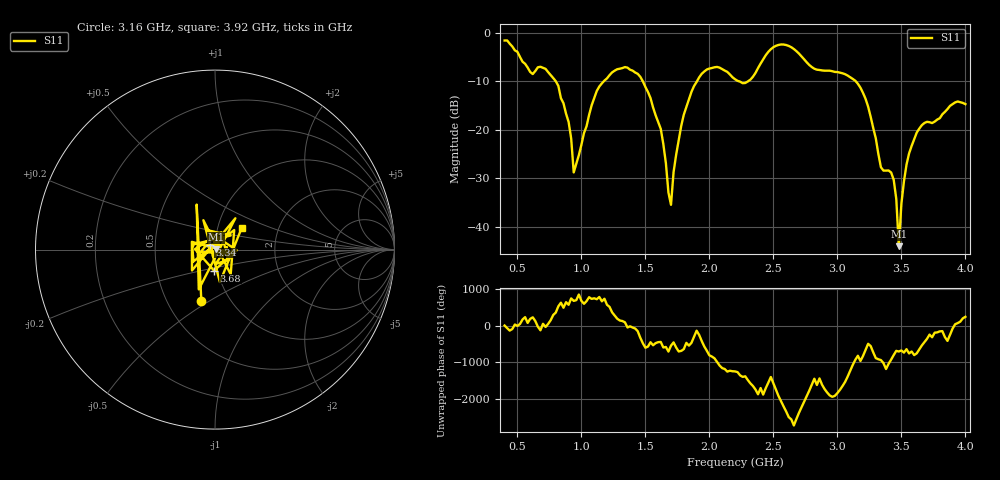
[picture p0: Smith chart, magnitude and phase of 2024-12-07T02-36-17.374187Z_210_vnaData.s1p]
!Created with skrf (http://scikit-rf.org).
# Hz S RI R 50.0
!freq ReS11 ImS11
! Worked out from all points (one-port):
!   181 points, 400 MHz to 4 GHz, reference 50 ohm
!   lowest |S11| = -43.9 dB at 3.48 GHz (marker M1), VSWR 1.01, Z = 50.6 + j0.129 ohm
!   |S11| at or under -10 dB: 799.5 MHz to 1.176 GHz (376.5 MHz wide, 38.1 % of centre); 1.479 GHz to 1.904 GHz (424.2 MHz wide, 25.1 % of centre); 3.143 GHz to end of sweep (the widest 3 of 4)
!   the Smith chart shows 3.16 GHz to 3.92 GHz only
!   S11 on the Smith chart (normalised r, x): 3.16 GHz: 0.74, -0.46; 3.34 GHz: 0.94, +0.05; 3.68 GHz: 0.96, -0.23; 3.92 GHz: 1.30, +0.33
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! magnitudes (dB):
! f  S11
! 400 MHz  -1.6
! 620 MHz  -8.5
! 720 MHz  -7.5
! 860 MHz  -14.5
! 920 MHz  -21.8
! 940 MHz  -28.8
! 1.12 GHz  -12.0
! 1.3 GHz  -7.4
! 1.54 GHz  -13.5
! 1.62 GHz  -19.8
! 1.7 GHz  -35.4
! 1.76 GHz  -22.2
! 1.94 GHz  -8.5
! 2.2 GHz  -9.6
! 2.52 GHz  -2.7
! 2.66 GHz  -3.4
! 3.1 GHz  -9.2
! 3.16 GHz  -10.5
! 3.24 GHz  -15.2
! 3.34 GHz  -27.7
! 3.44 GHz  -30.3
! 3.46 GHz  -34.2
! 3.48 GHz  -43.9
! 3.5 GHz  -35.2
! 3.56 GHz  -24.9
! 3.68 GHz  -18.6
! 3.92 GHz  -14.4
! 4 GHz  -14.7
